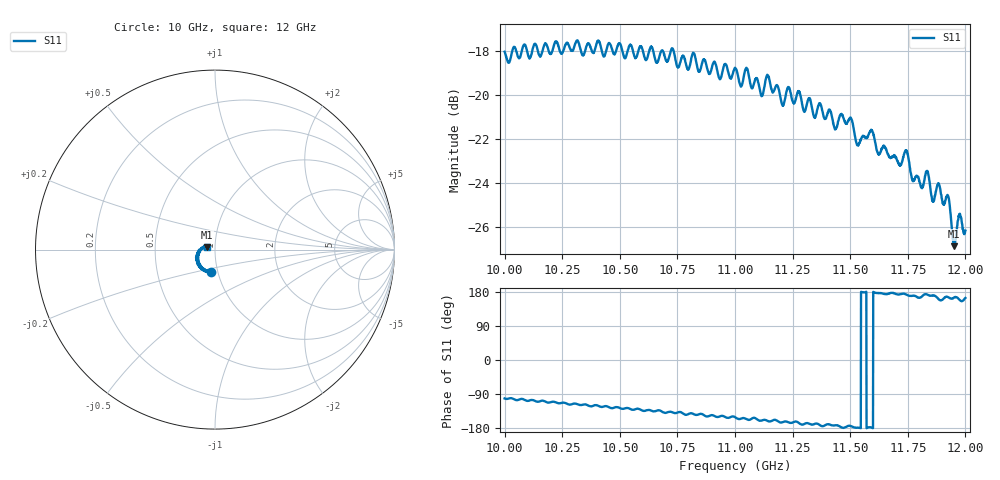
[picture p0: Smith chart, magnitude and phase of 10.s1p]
[Version] 2.0
! Rohde & Schwarz Vector Network Analyzer
! Rohde-Schwarz,ZNL20-2Port,1323001220200009,1.71.1.10-23.02.1.238
! Port Assignments:
! Nominal Port -> Actual Test Port
!  1 -> 1
! Created: GMT 2024-09-04 10:34:27
# Hz S DB R 50
[Number of Ports] 1
! freq[Hz]  S11[mag dB]  S11[ang]
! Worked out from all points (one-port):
!   2001 points, 10 GHz to 12 GHz, reference 50 ohm
!   lowest |S11| = -26.9 dB at 11.95 GHz (marker M1), VSWR 1.09, Z = 45.8 + j1.11 ohm
!   |S11| at or under -10 dB: start of sweep to end of sweep
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[Number of Frequencies] 28
[Network Data]
1e10  -18.01 -101.4
1.025e10  -18.07 -112.9
1.05e10  -17.64 -126.6
1.0661e10  -18.52 -133.6
1.0728e10  -17.88 -138.1
1.075e10  -18.71 -138.9
1.082e10  -18.08 -142.5
1.0844e10  -18.92 -143.3
1.1e10  -18.74 -150.7
1.1025e10  -19.60 -155.0
1.105e10  -18.75 -156.2
1.1115e10  -20.04 -159.9
1.125e10  -20.26 -165.0
1.1369e10  -20.38 -172.1
1.1436e10  -21.55 -172.3
1.15e10  -21.03 -173.6
1.1533e10  -22.28 -178.5
1.1592e10  -21.60 -178.2
1.1623e10  -22.70 176.8
1.175e10  -22.69 170.9
1.1773e10  -23.92 169.7
1.1834e10  -23.49 172.7
1.1859e10  -24.85 170.2
1.1882e10  -24.01 161.4
1.1923e10  -24.59 166.2
1.195e10  -26.88 164.5
1.1974e10  -25.42 158.9
1.2e10  -26.17 163.7
[End]
